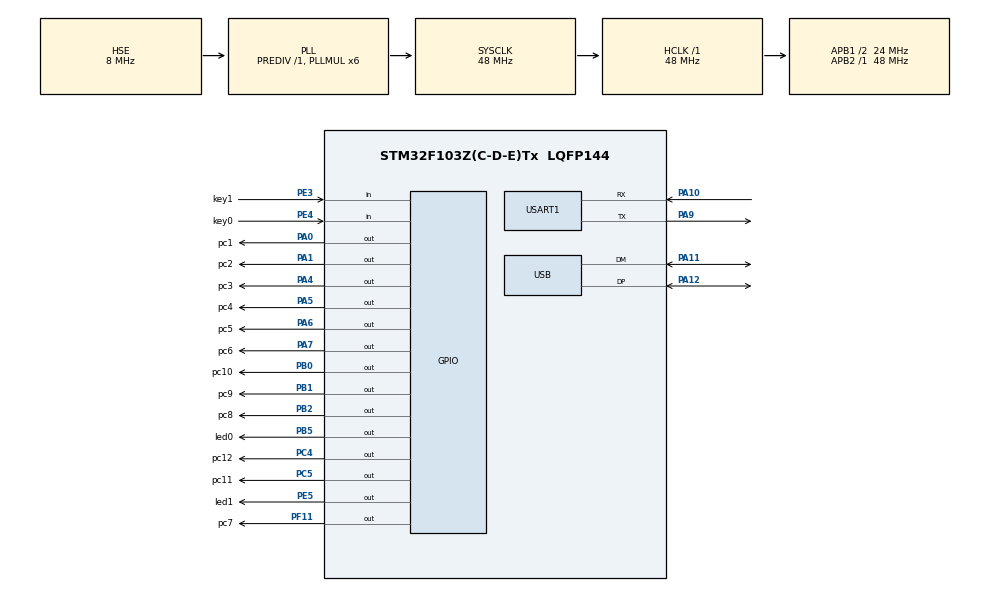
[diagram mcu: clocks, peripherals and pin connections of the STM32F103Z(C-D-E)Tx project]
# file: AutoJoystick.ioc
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FREERTOS.Tasks01=defaultTask,0,128,StartDefaultTask,Default,NULL
Mcu.Family=STM32F1
Mcu.Name=STM32F103Z(C-D-E)Tx
Mcu.Package=LQFP144
NVIC.PriorityGroup=NVIC_PRIORITYGROUP_4
NVIC.TIM1_UP_IRQn=true\:0\:0\:false\:false\:true\:false\:false\:true
NVIC.TimeBase=TIM1_UP_IRQn
NVIC.TimeBaseIP=TIM1
NVIC.USB_LP_CAN1_RX0_IRQn=true\:5\:0\:false\:false\:true\:true\:false\:true
OSC_IN.Mode=HSE-External-Oscillator
OSC_IN.Signal=RCC_OSC_IN
OSC_OUT.Mode=HSE-External-Oscillator
OSC_OUT.Signal=RCC_OSC_OUT
PA0-WKUP.GPIO_Label=pc1
PA0-WKUP.Signal=GPIO_Output
PA1.GPIO_Label=pc2
PA1.Signal=GPIO_Output
PA10.Mode=Asynchronous
PA10.Signal=USART1_RX
PA11.Mode=Device
PA11.Signal=USB_DM
PA12.Mode=Device
PA12.Signal=USB_DP
PA4.GPIO_Label=pc3
PA4.Signal=GPIO_Output
PA5.GPIO_Label=pc4
PA5.Signal=GPIO_Output
PA6.GPIO_Label=pc5
PA6.Signal=GPIO_Output
PA7.GPIO_Label=pc6
PA7.Signal=GPIO_Output
PA9.Mode=Asynchronous
PA9.Signal=USART1_TX
PB0.GPIO_Label=pc10
PB0.Signal=GPIO_Output
PB1.GPIO_Label=pc9
PB1.Signal=GPIO_Output
PB2.GPIO_Label=pc8
PB2.Signal=GPIO_Output
PB5.GPIO_Label=led0
PB5.Signal=GPIO_Output
PC4.GPIO_Label=pc12
PC4.Signal=GPIO_Output
PC5.GPIO_Label=pc11
PC5.Signal=GPIO_Output
PE3.GPIO_Label=key1
PE3.Signal=GPIO_Input
PE4.GPIO_Label=key0
PE4.Signal=GPIO_Input
PE5.GPIO_Label=led1
PE5.Signal=GPIO_Output
PF11.GPIO_Label=pc7
PF11.Signal=GPIO_Output
ProjectManager.HeapSize=0x200
ProjectManager.StackSize=0x400
ProjectManager.TargetToolchain=SW4STM32
RCC.AHBFreq_Value=48000000
RCC.APB1CLKDivider=RCC_HCLK_DIV2
RCC.APB1Freq_Value=24000000
RCC.APB1TimFreq_Value=48000000
RCC.APB2Freq_Value=48000000
RCC.APB2TimFreq_Value=48000000
RCC.HCLKFreq_Value=48000000
RCC.PLLMUL=RCC_PLL_MUL6
RCC.SYSCLKFreq_VALUE=48000000
RCC.SYSCLKSource=RCC_SYSCLKSOURCE_PLLCLK
RCC.USBFreq_Value=48000000
USART1.VirtualMode=VM_ASYNC
USB_DEVICE.CLASS_NAME_FS=HID
USB_DEVICE.VirtualMode=Hid
USB_DEVICE.VirtualModeFS=Hid_FS
VP_CRC_VS_CRC.Mode=CRC_Activate
VP_FREERTOS_VS_CMSIS_V1.Mode=CMSIS_V1
VP_SYS_VS_ND.Mode=No_Debug
VP_SYS_VS_tim1.Mode=TIM1
VP_USB_DEVICE_VS_USB_DEVICE_HID_FS.Mode=HID_FS
board=custom

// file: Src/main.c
/* USER CODE BEGIN Header */
/**
  ******************************************************************************
  * @file           : main.c
  * @brief          : Main program body
  ******************************************************************************
  * @attention
  *
  * <h2><center>&copy; Copyright (c) 2020 STMicroelectronics.
  * All rights reserved.</center></h2>
  *
  * This software component is licensed by ST under Ultimate Liberty license
  * SLA0044, the "License"; You may not use this file except in compliance with
  * the License. You may obtain a copy of the License at:
  *                             www.st.com/SLA0044
  *
  ******************************************************************************
  */
/* USER CODE END Header */

#include "main.h"
#include "cmsis_os.h"
#include "usb_device.h"

/* USER CODE BEGIN Includes */
#include "My/pc.h"
#include "My/program.h"
#include "My/key.h"
/* USER CODE END Includes */

CRC_HandleTypeDef hcrc;

UART_HandleTypeDef huart1;

osThreadId defaultTaskHandle;

void SystemClock_Config(void);

static void MX_GPIO_Init(void);

static void MX_CRC_Init(void);

static void MX_USART1_UART_Init(void);

void StartDefaultTask(void const *argument);

int main(void) {

    /* MCU Configuration--------------------------------------------------------*/

    /* Reset of all peripherals, Initializes the Flash interface and the Systick. */
    HAL_Init();

    /* Configure the system clock */
    SystemClock_Config();

    /* Initialize all configured peripherals */
    MX_GPIO_Init();
    MX_CRC_Init();
    MX_USART1_UART_Init();

    /* Create the thread(s) */
    /* definition and creation of defaultTask */
    osThreadDef(defaultTask, StartDefaultTask, osPriorityNormal, 0, 128);
    defaultTaskHandle = osThreadCreate(osThread(defaultTask), NULL);

    /* USER CODE BEGIN RTOS_THREADS */
    /* add threads, ... */

    extern osThreadId Task1Handle;
    extern osThreadId Task2Handle;
    extern osThreadId PCHandle;
    extern osThreadId USBHandle;
    extern osThreadId USBTickHandle;
//    extern osThreadId KeyHandle;

    osThreadDef(Task1, countTimeTask, osPriorityNormal, 0, 32);
    osThreadDef(Task2, countTimeTask2, osPriorityNormal, 0, 32);
    osThreadDef(PCTask, printPCTask, osPriorityNormal, 0, 32);
    osThreadDef(USBTaskThread, USBTask, osPriorityNormal, 0, 128);
    osThreadDef(USBTickTaskThread, USBTickTask, osPriorityNormal, 0, 32);
//    osThreadDef(KeyThread, KeyTask, osPriorityNormal, 0, 16);

    Task1Handle = osThreadCreate(osThread(Task1), NULL);
    Task2Handle = osThreadCreate(osThread(Task2), NULL);
    PCHandle = osThreadCreate(osThread(PCTask), NULL);
    USBHandle = osThreadCreate(osThread(USBTaskThread), NULL);
    USBTickHandle = osThreadCreate(osThread(USBTickTaskThread), NULL);
//    KeyHandle = osThreadCreate(osThread(KeyThread), NULL);

    /* USER CODE END RTOS_THREADS */

    /* Start scheduler */
    osKernelStart();
    /* We should never get here as control is now taken by the scheduler */

    /* Infinite loop */
    while (1) {
        char *char_p = (char *) malloc(sizeof(char));
    }
}

void SystemClock_Config(void) {
    RCC_OscInitTypeDef RCC_OscInitStruct = {0};
    RCC_ClkInitTypeDef RCC_ClkInitStruct = {0};
    RCC_PeriphCLKInitTypeDef PeriphClkInit = {0};

    /** Initializes the CPU, AHB and APB busses clocks
    */
    RCC_OscInitStruct.OscillatorType = RCC_OSCILLATORTYPE_HSE;
    RCC_OscInitStruct.HSEState = RCC_HSE_ON;
    RCC_OscInitStruct.HSEPredivValue = RCC_HSE_PREDIV_DIV1;
    RCC_OscInitStruct.HSIState = RCC_HSI_ON;
    RCC_OscInitStruct.PLL.PLLState = RCC_PLL_ON;
    RCC_OscInitStruct.PLL.PLLSource = RCC_PLLSOURCE_HSE;
    RCC_OscInitStruct.PLL.PLLMUL = RCC_PLL_MUL6;
    if (HAL_RCC_OscConfig(&RCC_OscInitStruct) != HAL_OK) {
        Error_Handler();
    }
    /** Initializes the CPU, AHB and APB busses clocks
    */
    RCC_ClkInitStruct.ClockType = RCC_CLOCKTYPE_HCLK | RCC_CLOCKTYPE_SYSCLK
                                  | RCC_CLOCKTYPE_PCLK1 | RCC_CLOCKTYPE_PCLK2;
    RCC_ClkInitStruct.SYSCLKSource = RCC_SYSCLKSOURCE_PLLCLK;
    RCC_ClkInitStruct.AHBCLKDivider = RCC_SYSCLK_DIV1;
    RCC_ClkInitStruct.APB1CLKDivider = RCC_HCLK_DIV2;
    RCC_ClkInitStruct.APB2CLKDivider = RCC_HCLK_DIV1;

    if (HAL_RCC_ClockConfig(&RCC_ClkInitStruct, FLASH_LATENCY_1) != HAL_OK) {
        Error_Handler();
    }
    PeriphClkInit.PeriphClockSelection = RCC_PERIPHCLK_USB;
    PeriphClkInit.UsbClockSelection = RCC_USBCLKSOURCE_PLL;
    if (HAL_RCCEx_PeriphCLKConfig(&PeriphClkInit) != HAL_OK) {
        Error_Handler();
    }
}

static void MX_CRC_Init(void) {

    hcrc.Instance = CRC;
    if (HAL_CRC_Init(&hcrc) != HAL_OK) {
        Error_Handler();
    }

}

static void MX_USART1_UART_Init(void) {

    huart1.Instance = USART1;
    huart1.Init.BaudRate = 115200;
    huart1.Init.WordLength = UART_WORDLENGTH_8B;
    huart1.Init.StopBits = UART_STOPBITS_1;
    huart1.Init.Parity = UART_PARITY_NONE;
    huart1.Init.Mode = UART_MODE_TX_RX;
    huart1.Init.HwFlowCtl = UART_HWCONTROL_NONE;
    huart1.Init.OverSampling = UART_OVERSAMPLING_16;
    if (HAL_UART_Init(&huart1) != HAL_OK) {
        Error_Handler();
    }

}

static void MX_GPIO_Init(void) {
    GPIO_InitTypeDef GPIO_InitStruct = {0};

    /* GPIO Ports Clock Enable */
    __HAL_RCC_GPIOE_CLK_ENABLE();
    __HAL_RCC_GPIOA_CLK_ENABLE();
    __HAL_RCC_GPIOC_CLK_ENABLE();
    __HAL_RCC_GPIOB_CLK_ENABLE();
    __HAL_RCC_GPIOF_CLK_ENABLE();

    /*Configure GPIO pin Output Level */
    HAL_GPIO_WritePin(led1_GPIO_Port, led1_Pin, GPIO_PIN_RESET);

    /*Configure GPIO pin Output Level */
    HAL_GPIO_WritePin(GPIOA, pc1_Pin | pc2_Pin | pc3_Pin | pc4_Pin
                             | pc5_Pin | pc6_Pin, GPIO_PIN_RESET);

    /*Configure GPIO pin Output Level */
    HAL_GPIO_WritePin(GPIOC, pc12_Pin | pc11_Pin, GPIO_PIN_RESET);

    /*Configure GPIO pin Output Level */
    HAL_GPIO_WritePin(GPIOB, pc10_Pin | pc9_Pin | pc8_Pin | led0_Pin, GPIO_PIN_RESET);

    /*Configure GPIO pin Output Level */
    HAL_GPIO_WritePin(pc7_GPIO_Port, pc7_Pin, GPIO_PIN_RESET);

    /*Configure GPIO pins : key1_Pin key0_Pin */
    GPIO_InitStruct.Pin = key1_Pin | key0_Pin;
    GPIO_InitStruct.Mode = GPIO_MODE_INPUT;
    GPIO_InitStruct.Pull = GPIO_NOPULL;
    HAL_GPIO_Init(GPIOE, &GPIO_InitStruct);

    /*Configure GPIO pin : led1_Pin */
    GPIO_InitStruct.Pin = led1_Pin;
    GPIO_InitStruct.Mode = GPIO_MODE_OUTPUT_PP;
    GPIO_InitStruct.Pull = GPIO_NOPULL;
    GPIO_InitStruct.Speed = GPIO_SPEED_FREQ_LOW;
    HAL_GPIO_Init(led1_GPIO_Port, &GPIO_InitStruct);

    /*Configure GPIO pins : pc1_Pin pc2_Pin pc3_Pin pc4_Pin
                             pc5_Pin pc6_Pin */
    GPIO_InitStruct.Pin = pc1_Pin | pc2_Pin | pc3_Pin | pc4_Pin
                          | pc5_Pin | pc6_Pin;
    GPIO_InitStruct.Mode = GPIO_MODE_OUTPUT_PP;
    GPIO_InitStruct.Pull = GPIO_NOPULL;
    GPIO_InitStruct.Speed = GPIO_SPEED_FREQ_LOW;
    HAL_GPIO_Init(GPIOA, &GPIO_InitStruct);

    /*Configure GPIO pins : pc12_Pin pc11_Pin */
    GPIO_InitStruct.Pin = pc12_Pin | pc11_Pin;
    GPIO_InitStruct.Mode = GPIO_MODE_OUTPUT_PP;
    GPIO_InitStruct.Pull = GPIO_NOPULL;
    GPIO_InitStruct.Speed = GPIO_SPEED_FREQ_LOW;
    HAL_GPIO_Init(GPIOC, &GPIO_InitStruct);

    /*Configure GPIO pins : pc10_Pin pc9_Pin pc8_Pin led0_Pin */
    GPIO_InitStruct.Pin = pc10_Pin | pc9_Pin | pc8_Pin | led0_Pin;
    GPIO_InitStruct.Mode = GPIO_MODE_OUTPUT_PP;
    GPIO_InitStruct.Pull = GPIO_NOPULL;
    GPIO_InitStruct.Speed = GPIO_SPEED_FREQ_LOW;
    HAL_GPIO_Init(GPIOB, &GPIO_InitStruct);

    /*Configure GPIO pin : pc7_Pin */
    GPIO_InitStruct.Pin = pc7_Pin;
    GPIO_InitStruct.Mode = GPIO_MODE_OUTPUT_PP;
    GPIO_InitStruct.Pull = GPIO_NOPULL;
    GPIO_InitStruct.Speed = GPIO_SPEED_FREQ_LOW;
    HAL_GPIO_Init(pc7_GPIO_Port, &GPIO_InitStruct);

}

void StartDefaultTask(void const *argument) {

    /* init code for USB_DEVICE */
    MX_USB_DEVICE_Init();

    for (;;) {
        osDelay(1);
    }
}

void HAL_TIM_PeriodElapsedCallback(TIM_HandleTypeDef *htim) {
    if (htim->Instance == TIM1) {
        HAL_IncTick();
    }
}

void Error_Handler(void) {
}

/************************ (C) COPYRIGHT STMicroelectronics *****END OF FILE****/
